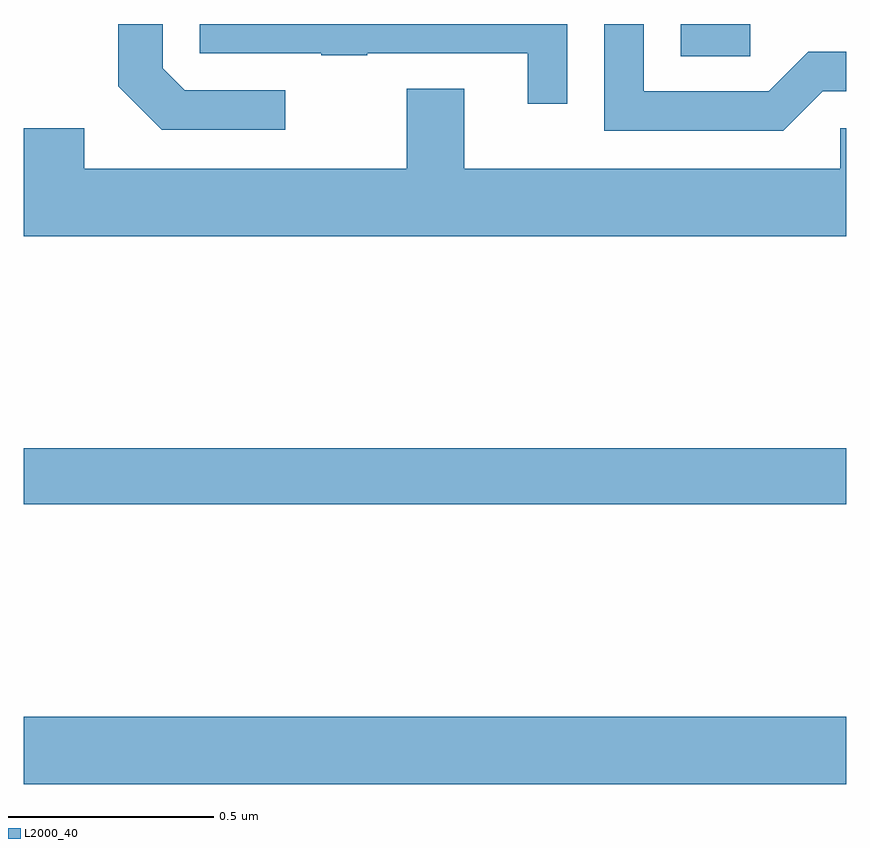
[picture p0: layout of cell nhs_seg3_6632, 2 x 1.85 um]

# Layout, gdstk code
import gdstk
lib = gdstk.Library(unit=1e-6, precision=1e-09)
def R(c, l, rs):  # rectangles x0, y0, x1, y1
    for r in rs: c.add(gdstk.rectangle(r[:2], r[2:], *l))
def P(c, l, *ps):  # polygons
    for p in ps: c.add(gdstk.Polygon(p, *l))
L2000_40 = (2000, 40)

nhs_seg3_6632 = lib.new_cell('nhs_seg3_6632')
R(nhs_seg3_6632, L2000_40, [(193,731.552,195,731.716), (193,732.232,195,732.368), (194.598,733.321,194.767,733.4)])
P(nhs_seg3_6632, L2000_40, [(194.321,733.4),(193.428,733.4),(193.428,733.329),(193.723,733.329),(193.723,733.324),(193.835,733.324),(193.835,733.329),(194.225,733.329),(194.225,733.206),(194.321,733.206)],
  [(193.636,733.239),(193.392,733.239),(193.338,733.293),(193.338,733.4),(193.23,733.4),(193.23,733.249),(193.335,733.143),(193.636,733.143)],
  [(194.943,733.236),(195,733.236),(195,733.332),(194.907,733.332),(194.811,733.236),(194.508,733.236),(194.508,733.4),(194.412,733.4),(194.412,733.14),(194.847,733.14)],
  [(195,733.146),(194.985,733.146),(194.985,733.048),(194.071,733.048),(194.071,733.243),(193.931,733.243),(193.931,733.048),(193.147,733.048),(193.147,733.147),(193,733.147),(193,732.884),(195,732.884)])

lib.write_gds('nhs_seg3_6632.gds')
